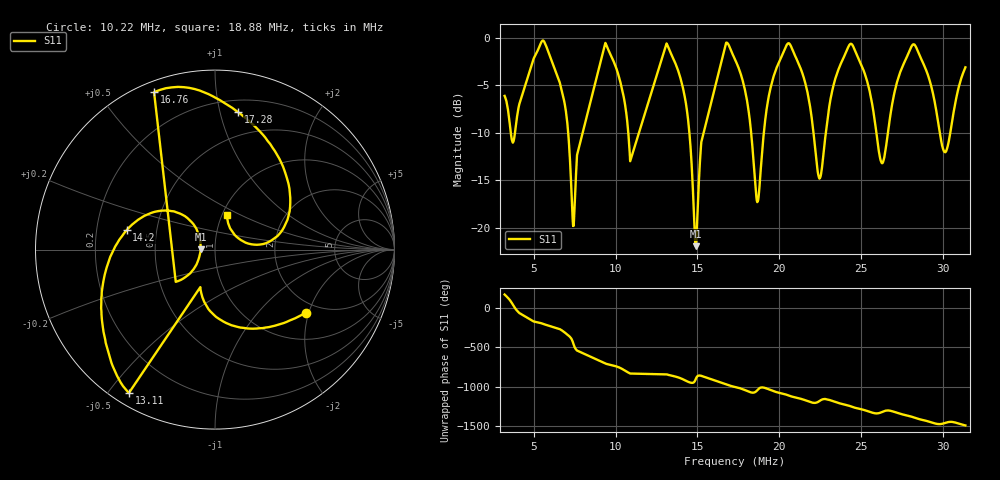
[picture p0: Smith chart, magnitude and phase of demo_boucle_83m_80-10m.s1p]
! Boucle pleine onde de 83 m de perimetre (fondamentale ~3.69 MHz), bandes 80 m a 10 m
! Mesure simulee a travers un balun 4:1 courant puis 10 m de RG213 (VF 0,66)
! Fichier de demonstration - Analyseur ROS NanoVNA F4CVQ
# HZ S RI R 50
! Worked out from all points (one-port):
!   909 points, 3.2 MHz to 31.4 MHz, reference 50 ohm
!   lowest |S11| = -21.9 dB at 14.9 MHz (marker M1), VSWR 1.17, Z = 42.6 + j0.16 ohm
!   |S11| at or under -10 dB: 14.51 MHz to 15.38 MHz (870.1 kHz wide, 5.82 % of centre); 18.29 MHz to 19.06 MHz (775.9 kHz wide, 4.15 % of centre); 22.1 MHz to 22.86 MHz (756.7 kHz wide, 3.37 % of centre)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
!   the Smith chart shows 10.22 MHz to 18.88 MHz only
!   S11 on the Smith chart (normalised r, x): 10.22 MHz: 1.69, -1.90; 13.11 MHz: 0.05, -0.56; 14.2 MHz: 0.33, +0.10; 16.76 MHz: 0.04, +0.68; 17.28 MHz: 0.29, +1.14; 18.88 MHz: 1.05, +0.43
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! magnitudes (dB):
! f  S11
! 3.2 MHz  -6.1
! 3.722 MHz  -11.0
! 5.544 MHz  -0.3
! 6.727 MHz  -5.8
! 7.409 MHz  -19.7
! 7.633 MHz  -12.3
! 10.22 MHz  -4.2
! 10.26 MHz  -4.5
! 10.82 MHz  -11.2
! 13.11 MHz  -0.6
! 13.2 MHz  -0.9
! 13.79 MHz  -3.3
! 14.2 MHz  -5.9
! 14.9 MHz  -21.9
! 15.24 MHz  -11.0
! 16.76 MHz  -0.5
! 17.28 MHz  -2.2
! 17.3 MHz  -2.3
! 18.63 MHz  -17.1
! 18.88 MHz  -13.8
! 19.48 MHz  -5.3
! 20.84 MHz  -1.4
! 22.47 MHz  -14.8
! 24.38 MHz  -0.6
! 26.32 MHz  -13.2
! 27.88 MHz  -1.8
! 30.12 MHz  -12.0
! 31.4 MHz  -3.1
